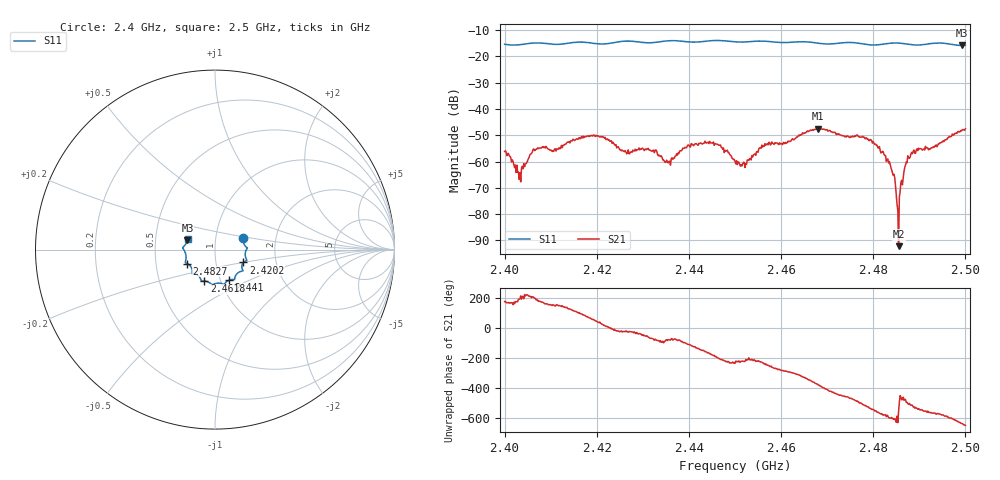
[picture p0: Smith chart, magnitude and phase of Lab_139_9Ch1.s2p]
# Hz S RI R 50
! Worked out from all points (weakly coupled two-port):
!   601 points, 2.4 GHz to 2.5 GHz, reference 50 ohm
!   highest |S21| = -47.43 dB at 2.468 GHz (marker M1); lowest = -92.2 dB at 2.4855 GHz (marker M2)
!   lowest |S11| = -15.8 dB at 2.4993 GHz (marker M3), VSWR 1.39, Z = 36.5 + j3.84 ohm
!   |S11| at or under -10 dB: start of sweep to end of sweep
!   S12 and S22 are empty: the file has one direction only
!   S11 on the Smith chart (normalised r, x): 2.4 GHz: 1.36, +0.18; 2.4202 GHz: 1.36, -0.20; 2.441 GHz: 1.10, -0.39; 2.4618 GHz: 0.84, -0.30; 2.4827 GHz: 0.72, -0.12; 2.5 GHz: 0.73, +0.09
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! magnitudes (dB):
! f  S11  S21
! 2.4 GHz  -15.4  -56.2
! 2.403 GHz  -15.6  -64.1
! 2.4067 GHz  -14.9  -55.7
! 2.4167 GHz  -14.5  -50.6
! 2.4202 GHz  -15.2  -50.2
! 2.4262 GHz  -14.2  -55.9
! 2.4333 GHz  -14.5  -57.8
! 2.4355 GHz  -14.1  -60.5
! 2.441 GHz  -14.6  -54.0
! 2.4463 GHz  -13.9  -53.6
! 2.45 GHz  -14.5  -59.9
! 2.4618 GHz  -14.6  -52.3
! 2.4667 GHz  -14.6  -48.1
! 2.468 GHz  -14.9  -47.4
! 2.4782 GHz  -15.4  -51.2
! 2.4827 GHz  -15.2  -57.7
! 2.4833 GHz  -15.0  -60.6
! 2.4855 GHz  -14.9  -92.2
! 2.4872 GHz  -15.2  -60.2
! 2.4883 GHz  -15.5  -56.5
! 2.4993 GHz  -15.8  -47.9
! 2.5 GHz  -15.7  -47.5
